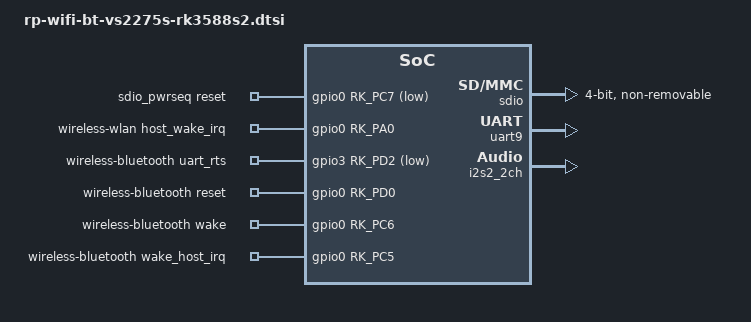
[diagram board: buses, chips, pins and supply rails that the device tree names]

/{
	sdio_pwrseq: sdio-pwrseq {
                compatible = "mmc-pwrseq-simple";
                clocks = <&hym8563>;
                clock-names = "ext_clock";
		pinctrl-names = "default";
                pinctrl-0 = <&wifi_enable_h>;

                /*
                 * On the module itself this is one of these (depending
                 * on the actual card populated):
                 * - SDIO_RESET_L_WL_REG_ON
                 * - PDN (power down when low)
                 */
                post-power-on-delay-ms = <100>;
                reset-gpios = <&gpio0 RK_PC7 GPIO_ACTIVE_LOW>;
        };

	wireless-wlan {
                compatible = "wlan-platdata";
                rockchip,grf = <&sys_grf>;
                wifi_chip_type = "vs2275s";
                pinctrl-names = "default";
                pinctrl-0 = <&wifi_host_wake_irq>;
                WIFI,host_wake_irq = <&gpio0 RK_PA0 GPIO_ACTIVE_HIGH>;
				//WIFI,poweren_gpio = <&gpio1 RK_PC7 GPIO_ACTIVE_HIGH>;
                status = "okay";
        };

        wireless-bluetooth {
                compatible = "bluetooth-platdata";
                clocks = <&hym8563>;
                clock-names = "ext_clock";
				//wifi-bt-power-toggle;
                uart_rts_gpios = <&gpio3 RK_PD2 GPIO_ACTIVE_LOW>;
                pinctrl-names = "default", "rts_gpio";
                pinctrl-0 = <&uart9m2_rtsn>, <&bt_gpio>;
                pinctrl-1 = <&uart9_gpios>;
                BT,reset_gpio    = <&gpio0 RK_PD0 GPIO_ACTIVE_HIGH>;
                BT,wake_gpio     = <&gpio0 RK_PC6 GPIO_ACTIVE_HIGH>;
                BT,wake_host_irq = <&gpio0 RK_PC5 GPIO_ACTIVE_HIGH>;
                status = "okay";
        };

	bt-sound {
                compatible = "simple-audio-card";
                simple-audio-card,format = "dsp_a";
                simple-audio-card,bitclock-inversion = <1>;
                simple-audio-card,mclk-fs = <256>;
                simple-audio-card,name = "rockchip,bt";
                simple-audio-card,cpu {
                        sound-dai = <&i2s2_2ch>;
                };

                simple-audio-card,codec {
                        sound-dai = <&bt_sco 1>;
                };
        };

        bt_sco: bt-sco {
                compatible = "delta,dfbmcs320";
                #sound-dai-cells = <1>;
                status = "okay";
        };
};

&sdio {
        max-frequency = <150000000>;
        no-sd;
        no-mmc;
        bus-width = <4>;
        disable-wp;
        cap-sd-highspeed;
        cap-sdio-irq;
        keep-power-in-suspend;
        mmc-pwrseq = <&sdio_pwrseq>;
        non-removable;
        num-slots = <1>;
        supports-sdio;
        sd-uhs-sdr104;
        status = "okay";
        //post_power_on_delay_ms = <100>;
};

&uart9 {
	status = "okay";
	pinctrl-names = "default";
	pinctrl-0 = <&uart9m2_xfer &uart9m2_ctsn>;
};

&i2s2_2ch {
        status = "okay";
        pinctrl-names = "default";
        pinctrl-0 = <&i2s2m1_lrck
                     &i2s2m1_sclk
                     &i2s2m1_sdi
                     &i2s2m1_sdo>;
};

&pinctrl {
	wireless-wlan {
        	wifi_host_wake_irq: wifi-host-wake-irq {
            		rockchip,pins = <0 RK_PA0 RK_FUNC_GPIO &pcfg_pull_down>;
        	};
		wifi_enable_h: wifi-enable-h {
                        rockchip,pins = <0 RK_PC7 RK_FUNC_GPIO &pcfg_pull_none>;
                };
    	};

    	wireless-bluetooth {
		bt_gpio: bt-gpio {
                        rockchip,pins =
                                <0 RK_PD0 RK_FUNC_GPIO &pcfg_pull_none>,
                                <0 RK_PC6 RK_FUNC_GPIO &pcfg_pull_up>,
                                <0 RK_PC5 RK_FUNC_GPIO &pcfg_pull_down>;
                };
        	uart9_gpios: uart9-gpios {
            		rockchip,pins = <3 RK_PD2 RK_FUNC_GPIO &pcfg_pull_none>;
        	};
    	};
};
